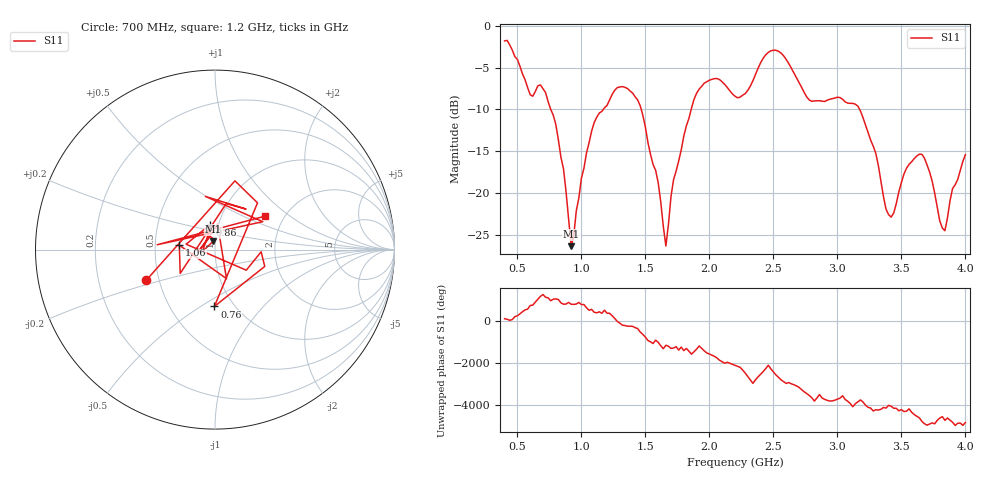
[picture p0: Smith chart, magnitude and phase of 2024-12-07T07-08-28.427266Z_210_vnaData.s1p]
!Created with skrf (http://scikit-rf.org).
# Hz S RI R 50.0
!freq ReS11 ImS11
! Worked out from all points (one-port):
!   181 points, 400 MHz to 4 GHz, reference 50 ohm
!   lowest |S11| = -26.3 dB at 920 MHz (marker M1), VSWR 1.10, Z = 48.9 + j4.63 ohm
!   |S11| at or under -10 dB: 760.6 MHz to 1.171 GHz (410.2 MHz wide, 42.5 % of centre); 1.467 GHz to 1.857 GHz (390 MHz wide, 23.5 % of centre); 3.174 GHz to end of sweep
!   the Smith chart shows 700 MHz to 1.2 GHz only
!   S11 on the Smith chart (normalised r, x): 700 MHz: 0.42, -0.18; 760 MHz: 0.81, -0.57; 860 MHz: 0.91, +0.25; 1.06 GHz: 0.67, +0.03; 1.2 GHz: 1.60, +0.67
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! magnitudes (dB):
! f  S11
! 400 MHz  -1.8
! 600 MHz  -8.2
! 700 MHz  -7.5
! 760 MHz  -10.0
! 860 MHz  -17.1
! 920 MHz  -26.3
! 1.06 GHz  -14.0
! 1.2 GHz  -9.5
! 1.3 GHz  -7.3
! 1.46 GHz  -9.6
! 1.6 GHz  -18.8
! 1.66 GHz  -26.3
! 1.7 GHz  -20.4
! 1.76 GHz  -16.2
! 1.88 GHz  -8.8
! 1.96 GHz  -6.9
! 2.2 GHz  -8.4
! 2.48 GHz  -3.0
! 2.66 GHz  -5.6
! 2.78 GHz  -8.9
! 3.1 GHz  -9.3
! 3.3 GHz  -15.2
! 3.4 GHz  -22.6
! 3.56 GHz  -16.6
! 3.68 GHz  -15.8
! 3.84 GHz  -24.5
! 3.9 GHz  -19.4
! 4 GHz  -15.4
